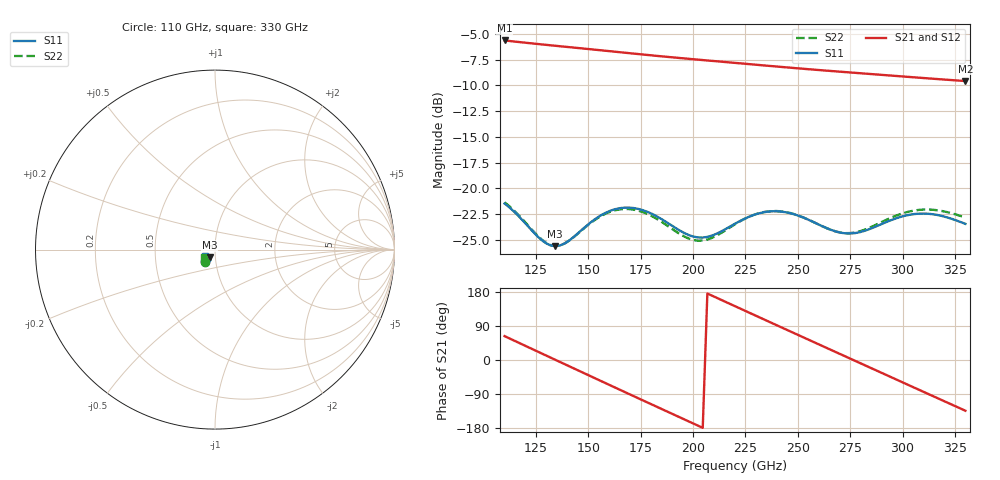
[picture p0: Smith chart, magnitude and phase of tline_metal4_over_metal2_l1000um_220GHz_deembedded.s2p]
! Created with skrf 2.2.0 (http://scikit-rf.org).
# GHz S DB R 50.0
! Port[1] = P1
! Port[2] = P2
!freq dBS11 angS11 dBS21 angS21 dBS12 angS12 dBS22 angS22
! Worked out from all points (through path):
!   101 points, 110 GHz to 330 GHz, reference 50 ohm
!   highest |S21| = -5.64 dB at 110 GHz (marker M1); lowest = -9.6 dB at 330 GHz (marker M2)
!   group delay of S21, straight-line fit = 7.02 ps
!   lowest |S11| = -25.6 dB at 134.2 GHz (marker M3), VSWR 1.11, Z = 47 - j4.1 ohm
!   |S11| at or under -10 dB: start of sweep to end of sweep
!   |S22| runs from -25.6 to -21.4 dB; largest |S21 - S12| = 6.8e-14
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110  -21.47 -129.4  -5.64 63.0  -5.64 63.0  -21.36 -128.6
123.2  -24.13 -135.3  -5.93 28.9  -5.93 28.9  -24.05 -134.9
134.2  -25.61 -123.9  -6.16 0.6  -6.16 0.6  -25.59 -123.7
147.4  -23.93 -113.2  -6.42 -33.4  -6.42 -33.4  -23.98 -113.0
156.2  -22.59 -116.8  -6.60 -55.9  -6.60 -55.9  -22.67 -116.7
165  -21.93 -124.5  -6.78 -78.5  -6.78 -78.5  -22.04 -124.4
173.8  -21.99 -132.8  -6.96 -100.9  -6.96 -100.9  -22.16 -132.7
184.8  -22.97 -140.1  -7.18 -128.8  -7.18 -128.8  -23.23 -139.7
193.6  -24.09 -140.4  -7.35 -151.1  -7.35 -151.1  -24.43 -139.3
202.4  -24.77 -134.9  -7.51 -173.4  -7.51 -173.4  -25.08 -132.8
211.2  -24.41 -128.5  -7.66 164.3  -7.66 164.3  -24.59 -125.7
220  -23.43 -126.8  -7.82 142.0  -7.82 142.0  -23.49 -124.2
228.8  -22.59 -130.0  -7.98 119.8  -7.98 119.8  -22.59 -127.7
237.6  -22.23 -135.7  -8.13 97.6  -8.13 97.6  -22.20 -133.6
246.4  -22.42 -141.4  -8.29 75.5  -8.29 75.5  -22.39 -139.6
257.4  -23.26 -145.5  -8.47 47.8  -8.47 47.8  -23.26 -143.6
266.2  -24.06 -144.2  -8.61 25.8  -8.61 25.8  -24.06 -142.0
275  -24.38 -139.4  -8.75 3.7  -8.75 3.7  -24.34 -136.8
283.8  -23.99 -134.9  -8.89 -18.4  -8.89 -18.4  -23.86 -132.2
294.8  -23.06 -134.5  -9.06 -45.9  -9.06 -45.9  -22.82 -131.9
312.4  -22.47 -142.2  -9.33 -90.0  -9.33 -90.0  -22.06 -140.1
330  -23.45 -147.2  -9.58 -133.9  -9.58 -133.9  -22.83 -146.3
